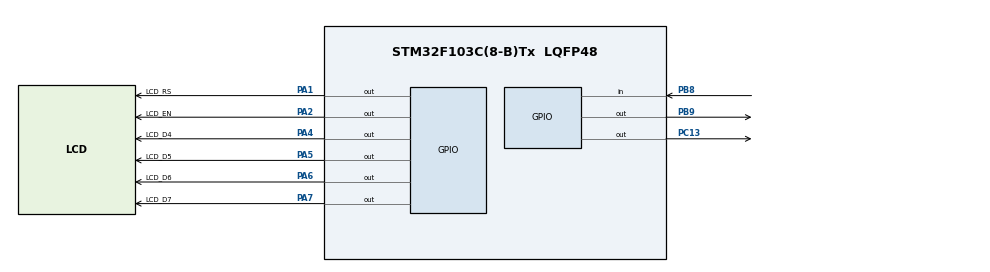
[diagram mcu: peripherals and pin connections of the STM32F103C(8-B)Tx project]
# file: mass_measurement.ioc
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Mcu.Family=STM32F1
Mcu.Name=STM32F103C(8-B)Tx
Mcu.Package=LQFP48
NVIC.PriorityGroup=NVIC_PRIORITYGROUP_4
PA1.GPIO_Label=LCD_RS
PA1.Signal=GPIO_Output
PA13.Mode=Serial_Wire
PA13.Signal=SYS_JTMS-SWDIO
PA14.Mode=Serial_Wire
PA14.Signal=SYS_JTCK-SWCLK
PA2.GPIO_Label=LCD_EN
PA2.Signal=GPIO_Output
PA4.GPIO_Label=LCD_D4
PA4.Signal=GPIO_Output
PA5.GPIO_Label=LCD_D5
PA5.Signal=GPIO_Output
PA6.GPIO_Label=LCD_D6
PA6.Signal=GPIO_Output
PA7.GPIO_Label=LCD_D7
PA7.Signal=GPIO_Output
PB8.Signal=GPIO_Input
PB9.Signal=GPIO_Output
PC13-TAMPER-RTC.Signal=GPIO_Output
PD0-OSC_IN.Mode=HSE-External-Oscillator
PD0-OSC_IN.Signal=RCC_OSC_IN
PD1-OSC_OUT.Mode=HSE-External-Oscillator
PD1-OSC_OUT.Signal=RCC_OSC_OUT
ProjectManager.HeapSize=0x200
ProjectManager.StackSize=0x400
ProjectManager.TargetToolchain=MDK-ARM V5.27
RCC.APB1Freq_Value=8000000
RCC.APB2Freq_Value=8000000
board=custom

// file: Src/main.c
/* USER CODE BEGIN Header */
/**
  ******************************************************************************
  * @file           : main.c
  * @brief          : EREN AKYOL
  ******************************************************************************
  * @attention
  *
  * <h2><center>&copy; Copyright (c) 2020 STMicroelectronics.
  * All rights reserved.</center></h2>
  *
  * This software component is licensed by ST under BSD 3-Clause license,
  * the "License"; You may not use this file except in compliance with the
  * License. You may obtain a copy of the License at:
  *                        opensource.org/licenses/BSD-3-Clause
  *
  ******************************************************************************
  */
/* USER CODE END Header */

#include "main.h"

/* USER CODE BEGIN Includes */
#include "LCD.h"
#include "hx711.h"
#include "string.h"
/* USER CODE END Includes */

/* USER CODE BEGIN PV */
volatile int meres =0;
volatile int meresAtlag =0;
float result = 0;
/* USER CODE END PV */

void SystemClock_Config(void);
static void MX_GPIO_Init(void);

int main(void)
{
  /* USER CODE BEGIN 1 */
  HX711 hx11;
  hx11.gpioSck =  GPIOB;
  hx11.gpioData = GPIOB;
  hx11.pinSck = GPIO_PIN_9;
  hx11.pinData = GPIO_PIN_8;
  hx11.offset = 0;
  hx11.gain = 64;
  /* USER CODE END 1 */

  /* MCU Configuration--------------------------------------------------------*/

  /* Reset of all peripherals, Initializes the Flash interface and the Systick. */
  HAL_Init();

  /* USER CODE BEGIN Init */
  char masage[100];
	char masage_1[100];
  /* USER CODE END Init */

  /* Configure the system clock */
  SystemClock_Config();

  /* Initialize all configured peripherals */
  MX_GPIO_Init();
  /* USER CODE BEGIN 2 */
	lcd_init(_LCD_4BIT, _LCD_FONT_5x8, _LCD_2LINE);
	HX711_Init(hx11);
	lcd_clear();

  /* USER CODE END 2 */

  /* Infinite loop */
  /* USER CODE BEGIN WHILE */
  while (1)
  {
		HX711_Value(hx11);
		meres = HX711_Average_Value(hx11,10); // meres = 8242047
		meres = meres / 10000;
		if(meres <= 824)
		meres = 824;
		meres = meres - 824;
		result = (float)meres;
		result = result * 5;
		result = result / 56;
		HAL_Delay(500);
		sprintf(masage_1,"%.3f GRAM",result*1000);
		lcd_print(1,1,masage_1);
		lcd_print(2,1,"---EREN AKYOL---");
    /* USER CODE END WHILE */

  }
}

void SystemClock_Config(void)
{
  RCC_OscInitTypeDef RCC_OscInitStruct = {0};
  RCC_ClkInitTypeDef RCC_ClkInitStruct = {0};

  /** Initializes the CPU, AHB and APB busses clocks
  */
  RCC_OscInitStruct.OscillatorType = RCC_OSCILLATORTYPE_HSI;
  RCC_OscInitStruct.HSIState = RCC_HSI_ON;
  RCC_OscInitStruct.HSICalibrationValue = RCC_HSICALIBRATION_DEFAULT;
  RCC_OscInitStruct.PLL.PLLState = RCC_PLL_NONE;
  if (HAL_RCC_OscConfig(&RCC_OscInitStruct) != HAL_OK)
  {
    Error_Handler();
  }
  /** Initializes the CPU, AHB and APB busses clocks
  */
  RCC_ClkInitStruct.ClockType = RCC_CLOCKTYPE_HCLK|RCC_CLOCKTYPE_SYSCLK
                              |RCC_CLOCKTYPE_PCLK1|RCC_CLOCKTYPE_PCLK2;
  RCC_ClkInitStruct.SYSCLKSource = RCC_SYSCLKSOURCE_HSI;
  RCC_ClkInitStruct.AHBCLKDivider = RCC_SYSCLK_DIV1;
  RCC_ClkInitStruct.APB1CLKDivider = RCC_HCLK_DIV1;
  RCC_ClkInitStruct.APB2CLKDivider = RCC_HCLK_DIV1;

  if (HAL_RCC_ClockConfig(&RCC_ClkInitStruct, FLASH_LATENCY_0) != HAL_OK)
  {
    Error_Handler();
  }
}

static void MX_GPIO_Init(void)
{
  GPIO_InitTypeDef GPIO_InitStruct = {0};

  /* GPIO Ports Clock Enable */
  __HAL_RCC_GPIOC_CLK_ENABLE();
  __HAL_RCC_GPIOD_CLK_ENABLE();
  __HAL_RCC_GPIOA_CLK_ENABLE();
  __HAL_RCC_GPIOB_CLK_ENABLE();

  /*Configure GPIO pin Output Level */
  HAL_GPIO_WritePin(GPIOC, GPIO_PIN_13, GPIO_PIN_RESET);

  /*Configure GPIO pin Output Level */
  HAL_GPIO_WritePin(GPIOA, LCD_RS_Pin|LCD_EN_Pin|LCD_D4_Pin|LCD_D5_Pin
                          |LCD_D6_Pin|LCD_D7_Pin, GPIO_PIN_RESET);

  /*Configure GPIO pin Output Level */
  HAL_GPIO_WritePin(GPIOB, GPIO_PIN_9, GPIO_PIN_RESET);

  /*Configure GPIO pin : PC13 */
  GPIO_InitStruct.Pin = GPIO_PIN_13;
  GPIO_InitStruct.Mode = GPIO_MODE_OUTPUT_PP;
  GPIO_InitStruct.Pull = GPIO_NOPULL;
  GPIO_InitStruct.Speed = GPIO_SPEED_FREQ_LOW;
  HAL_GPIO_Init(GPIOC, &GPIO_InitStruct);

  /*Configure GPIO pins : LCD_RS_Pin LCD_EN_Pin LCD_D4_Pin LCD_D5_Pin
                           LCD_D6_Pin LCD_D7_Pin */
  GPIO_InitStruct.Pin = LCD_RS_Pin|LCD_EN_Pin|LCD_D4_Pin|LCD_D5_Pin
                          |LCD_D6_Pin|LCD_D7_Pin;
  GPIO_InitStruct.Mode = GPIO_MODE_OUTPUT_PP;
  GPIO_InitStruct.Pull = GPIO_NOPULL;
  GPIO_InitStruct.Speed = GPIO_SPEED_FREQ_LOW;
  HAL_GPIO_Init(GPIOA, &GPIO_InitStruct);

  /*Configure GPIO pin : PB8 */
  GPIO_InitStruct.Pin = GPIO_PIN_8;
  GPIO_InitStruct.Mode = GPIO_MODE_INPUT;
  GPIO_InitStruct.Pull = GPIO_NOPULL;
  HAL_GPIO_Init(GPIOB, &GPIO_InitStruct);

  /*Configure GPIO pin : PB9 */
  GPIO_InitStruct.Pin = GPIO_PIN_9;
  GPIO_InitStruct.Mode = GPIO_MODE_OUTPUT_PP;
  GPIO_InitStruct.Pull = GPIO_NOPULL;
  GPIO_InitStruct.Speed = GPIO_SPEED_FREQ_LOW;
  HAL_GPIO_Init(GPIOB, &GPIO_InitStruct);

}

void Error_Handler(void)
{
}

/************************ (C) COPYRIGHT STMicroelectronics *****END OF FILE****/
